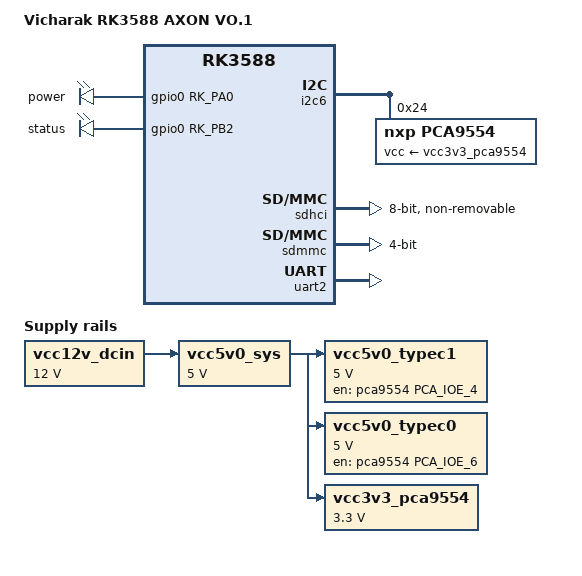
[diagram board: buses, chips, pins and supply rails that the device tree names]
// SPDX-License-Identifier: (GPL-2.0+ OR MIT)
/*
 * Copyright (c) 2023 Vicharak India
 *
 */

/dts-v1/;
#include "rk3588.dtsi"
#include "rk3588-u-boot.dtsi"
#include <dt-bindings/gpio/gpio.h>
#include <dt-bindings/input/input.h>
#include <dt-bindings/pinctrl/rockchip.h>

/ {
	model = "Vicharak RK3588 AXON VO.1";
	compatible = "vicharak,rk3588-axon", "rockchip,rk3588";

	aliases {
		mmc0 = &sdhci;
		mmc1 = &sdmmc;
		serial2 = &uart2;
	};

	chosen {
		stdout-path = "serial2:1500000n8";
	};
	// Regulators: {{{
	vcc12v_dcin: vcc12v-dcin {
		u-boot,dm-pre-reloc;
		compatible = "regulator-fixed";
		regulator-name = "vcc12v_dcin";
		regulator-always-on;
		regulator-boot-on;
		regulator-min-microvolt = <12000000>;
		regulator-max-microvolt = <12000000>;
	};

	vcc5v0_sys: vcc5v0-sys {
		u-boot,dm-pre-reloc;
		compatible = "regulator-fixed";
		regulator-name = "vcc5v0_sys";
		regulator-always-on;
		regulator-boot-on;
		regulator-min-microvolt = <5000000>;
		regulator-max-microvolt = <5000000>;
		vin-supply = <&vcc12v_dcin>;
	};

	vcc5v0_typec1: vcc5v0-typec1-regulator {
		u-boot,dm-pre-reloc;
		compatible = "regulator-fixed";
		regulator-name = "vcc5v0_typec1";
		regulator-min-microvolt = <5000000>;
		regulator-max-microvolt = <5000000>;
		enable-active-high;
		gpio = <&pca9554 PCA_IOE_4 GPIO_ACTIVE_HIGH>;
		vin-supply = <&vcc5v0_sys>;
	};

	vcc5v0_typec0: vcc5v0-typec0-regulator {
		u-boot,dm-pre-reloc;
		compatible = "regulator-fixed";
		regulator-name = "vcc5v0_typec0";
		regulator-min-microvolt = <5000000>;
		regulator-max-microvolt = <5000000>;
		enable-active-high;
		gpio = <&pca9554 PCA_IOE_6 GPIO_ACTIVE_HIGH>;
		vin-supply = <&vcc5v0_sys>;
	};

	vcc3v3_pca9554: vcc3v3-pca9554 {
		u-boot,dm-pre-reloc;
		compatible = "regulator-fixed";
		regulator-name = "vcc3v3_pca9554";
		regulator-min-microvolt = <3300000>;
		regulator-max-microvolt = <3300000>;
		regulator-boot-on;
		regulator-always-on;
		enable-active-high;
		vin-supply = <&vcc5v0_sys>;
	};
	// End of Regulators }}}

	// Leds: {{{
	gpio_leds: gpio-leds {
		u-boot,dm-pre-reloc;
		compatible = "gpio-leds";
		status = "okay";
		pinctrl-names = "default";
		pinctrl-0 = <&power_led_gpio &status_led_gpio>;

		power_led: power-led {
			u-boot,dm-pre-reloc;
			label = "power";
			gpios = <&gpio0 RK_PA0 GPIO_ACTIVE_HIGH>;
			default-state = "on";
			retain-state-suspend;
			linux,default-trigger = "default-on";
		};

		status_led: status-led {
			u-boot,dm-pre-reloc;
			label = "status";
			gpios = <&gpio0 RK_PB2 GPIO_ACTIVE_HIGH>;
			default-state = "on";
			retain-state-suspend;
			linux,default-trigger = "heartbeat";
		};
	};
	// End of Leds }}}
};

// I2C6: {{{
&i2c6 {
	u-boot,dm-pre-reloc;
	status = "okay";

	// PCA9554 GPIO Expander
	pca9554: gpio@24 {
		u-boot,dm-pre-reloc;
		compatible = "nxp,pca9554";
		reg = <0x24>;
		vcc-supply = <&vcc3v3_pca9554>;
		gpio-controller;
		#gpio-cells = <2>;
		gpio-group-num = <300>;
		status = "okay";
	};
};
// End of I2C6 }}}

// Pinctrl: {{{
&pinctrl {
	// Leds: {{{
	leds {
		power_led_gpio: power-led-gpio {
			rockchip,pins =
						<0 RK_PA0 RK_FUNC_GPIO &pcfg_pull_none>;
		};

		status_led_gpio: status-led-gpio {
			rockchip,pins =
						<0 RK_PB2 RK_FUNC_GPIO &pcfg_pull_none>;
		};
	};
	// End of Leds }}}
};
// End of Pinctrl }}}

// SDHCI: {{{
&sdhci {
	max-frequency = <200000000>;
	no-sdio;
	no-sd;
	bus-width = <8>;
	non-removable;
	mmc-hs400-1_8v;
	mmc-hs400-enhanced-strobe;
	status = "okay";
};
// End of SDHCI }}}

// SDMMC: {{{
&sdmmc {
	max-frequency = <200000000>;
	no-sdio;
	no-mmc;
	bus-width = <4>;
	cap-mmc-highspeed;
	cap-sd-highspeed;
	disable-wp;
	sd-uhs-sdr104;
	status = "okay";
};
// End of SDMMC }}}

// UART2: {{{
&uart2 {
	pinctrl-0 = <&uart2m0_xfer>;
	status = "okay";
};
// End of UART2 }}}
